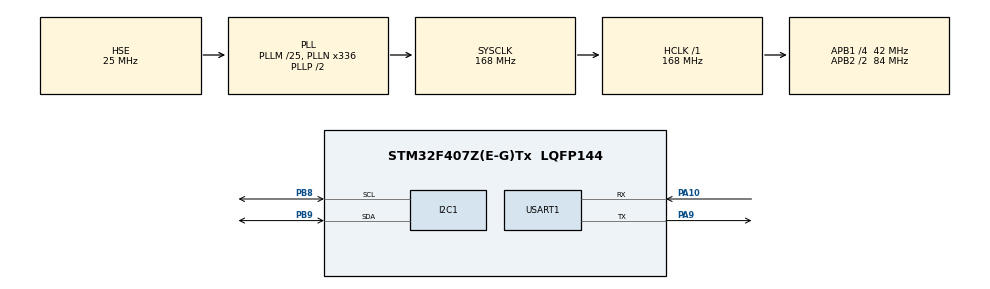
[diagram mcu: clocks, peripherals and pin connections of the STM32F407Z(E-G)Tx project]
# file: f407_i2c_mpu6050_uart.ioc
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Mcu.Family=STM32F4
Mcu.Name=STM32F407Z(E-G)Tx
Mcu.Package=LQFP144
I2C1.VirtualMode=I2C
NVIC.PriorityGroup=NVIC_PRIORITYGROUP_4
NVIC.USART1_IRQn=true\:0\:0\:false\:false\:true\:true\:true\:true
PB8.Mode=I2C
PB8.Signal=I2C1_SCL
PB9.Mode=I2C
PB9.Signal=I2C1_SDA
PA10.Mode=Asynchronous
PA10.Signal=USART1_RX
PA13.Mode=Serial_Wire
PA13.Signal=SYS_JTMS-SWDIO
PA14.Mode=Serial_Wire
PA14.Signal=SYS_JTCK-SWCLK
PA9.Mode=Asynchronous
PA9.Signal=USART1_TX
PH0-OSC_IN.Mode=HSE-External-Oscillator
PH0-OSC_IN.Signal=RCC_OSC_IN
PH1-OSC_OUT.Mode=HSE-External-Oscillator
PH1-OSC_OUT.Signal=RCC_OSC_OUT
ProjectManager.HeapSize=0x200
ProjectManager.StackSize=0x400
ProjectManager.TargetToolchain=CMake
RCC.48MHZClocksFreq_Value=84000000
RCC.AHBFreq_Value=168000000
RCC.APB1CLKDivider=RCC_HCLK_DIV4
RCC.APB1Freq_Value=42000000
RCC.APB1TimFreq_Value=84000000
RCC.APB2CLKDivider=RCC_HCLK_DIV2
RCC.APB2Freq_Value=84000000
RCC.APB2TimFreq_Value=168000000
RCC.CortexFreq_Value=168000000
RCC.HCLKFreq_Value=168000000
RCC.HSE_VALUE=25000000
RCC.HSI_VALUE=16000000
RCC.LSE_VALUE=32768
RCC.PLLM=25
RCC.PLLN=336
RCC.PLLSourceVirtual=RCC_PLLSOURCE_HSE
RCC.SYSCLKFreq_VALUE=168000000
RCC.SYSCLKSource=RCC_SYSCLKSOURCE_PLLCLK
RCC.VCOOutputFreq_Value=336000000
USART1.VirtualMode=VM_ASYNC
board=custom

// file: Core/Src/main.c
/* USER CODE BEGIN Header */
/**
  ******************************************************************************
  * @file           : main.c
  * @brief          : I2C1 MPU6050 acquisition and USART1 display
  ******************************************************************************
  */
/* USER CODE END Header */
#include "main.h"

/* USER CODE BEGIN Includes */
#include <math.h>
#include <stdio.h>
#include <string.h>
/* USER CODE END Includes */

/* USER CODE BEGIN PTD */
typedef struct
{
  int16_t ax_raw;
  int16_t ay_raw;
  int16_t az_raw;
  int16_t temp_raw;
  int16_t gx_raw;
  int16_t gy_raw;
  int16_t gz_raw;
} MPU6050_RawData;
/* USER CODE END PTD */

/* USER CODE BEGIN PD */
#define MPU6050_ADDR_LOW       (0x68U << 1)
#define MPU6050_ADDR_HIGH      (0x69U << 1)

#define MPU6050_REG_SMPLRT_DIV 0x19U
#define MPU6050_REG_CONFIG     0x1AU
#define MPU6050_REG_GYRO_CFG   0x1BU
#define MPU6050_REG_ACCEL_CFG  0x1CU
#define MPU6050_REG_ACCEL_XOUT 0x3BU
#define MPU6050_REG_PWR_MGMT_1 0x6BU
#define MPU6050_REG_WHO_AM_I   0x75U

#define MPU6050_WHO_AM_I_VALUE 0x68U
#define RAD_TO_DEG              57.2957795f
/* USER CODE END PD */

I2C_HandleTypeDef hi2c1;
UART_HandleTypeDef huart1;

/* USER CODE BEGIN PV */
static uint16_t mpu6050_address = MPU6050_ADDR_LOW;
static int32_t gyro_x_bias = 0;
static int32_t gyro_y_bias = 0;
static int32_t gyro_z_bias = 0;
static float roll_deg = 0.0f;
static float pitch_deg = 0.0f;
static float yaw_deg = 0.0f;
static uint8_t angle_initialized = 0U;
/* USER CODE END PV */

void SystemClock_Config(void);
static void MX_GPIO_Init(void);
static void MX_I2C1_Init(void);
static void MX_USART1_UART_Init(void);
/* USER CODE BEGIN PFP */
static void UART_SendString(const char *text);
static void FormatFixed100(char *text, size_t text_size, int32_t value_x100);
static HAL_StatusTypeDef MPU6050_WriteRegister(uint8_t reg, uint8_t value);
static HAL_StatusTypeDef MPU6050_ReadRegisters(uint8_t reg, uint8_t *data,
                                               uint16_t length);
static HAL_StatusTypeDef MPU6050_Init(void);
static HAL_StatusTypeDef MPU6050_ReadRaw(MPU6050_RawData *sample);
static void MPU6050_CalibrateGyroscope(void);
static void MPU6050_UpdateAngles(const MPU6050_RawData *sample, float dt_s);
static void MPU6050_PrintSample(const MPU6050_RawData *sample);
/* USER CODE END PFP */

/* USER CODE BEGIN 0 */
static void UART_SendString(const char *text)
{
  HAL_UART_Transmit(&huart1, (uint8_t *)text, (uint16_t)strlen(text), 200U);
}

static void FormatFixed100(char *text, size_t text_size, int32_t value_x100)
{
  const char *sign = "";
  uint32_t magnitude;

  if (value_x100 < 0)
  {
    sign = "-";
    magnitude = (uint32_t)(-value_x100);
  }
  else
  {
    magnitude = (uint32_t)value_x100;
  }

  (void)snprintf(text, text_size, "%s%lu.%02lu", sign,
                 (unsigned long)(magnitude / 100U),
                 (unsigned long)(magnitude % 100U));
}

static HAL_StatusTypeDef MPU6050_WriteRegister(uint8_t reg, uint8_t value)
{
  return HAL_I2C_Mem_Write(&hi2c1, mpu6050_address, reg,
                           I2C_MEMADD_SIZE_8BIT, &value, 1U, 100U);
}

static HAL_StatusTypeDef MPU6050_ReadRegisters(uint8_t reg, uint8_t *data,
                                               uint16_t length)
{
  return HAL_I2C_Mem_Read(&hi2c1, mpu6050_address, reg,
                          I2C_MEMADD_SIZE_8BIT, data, length, 100U);
}

static HAL_StatusTypeDef MPU6050_Init(void)
{
  uint8_t who_am_i = 0U;

  if (HAL_I2C_IsDeviceReady(&hi2c1, MPU6050_ADDR_LOW, 3U, 100U) == HAL_OK)
  {
    mpu6050_address = MPU6050_ADDR_LOW;
  }
  else if (HAL_I2C_IsDeviceReady(&hi2c1, MPU6050_ADDR_HIGH, 3U, 100U) == HAL_OK)
  {
    mpu6050_address = MPU6050_ADDR_HIGH;
  }
  else
  {
    return HAL_ERROR;
  }

  if (MPU6050_ReadRegisters(MPU6050_REG_WHO_AM_I, &who_am_i, 1U) != HAL_OK)
  {
    return HAL_ERROR;
  }

  if (who_am_i != MPU6050_WHO_AM_I_VALUE)
  {
    return HAL_ERROR;
  }

  /* Reset, select PLL clock, 100 Hz sample rate and enable the low-pass filter. */
  if (MPU6050_WriteRegister(MPU6050_REG_PWR_MGMT_1, 0x80U) != HAL_OK)
  {
    return HAL_ERROR;
  }
  HAL_Delay(100U);

  if ((MPU6050_WriteRegister(MPU6050_REG_PWR_MGMT_1, 0x01U) != HAL_OK) ||
      (MPU6050_WriteRegister(MPU6050_REG_SMPLRT_DIV, 9U) != HAL_OK) ||
      (MPU6050_WriteRegister(MPU6050_REG_CONFIG, 0x03U) != HAL_OK) ||
      (MPU6050_WriteRegister(MPU6050_REG_GYRO_CFG, 0x00U) != HAL_OK) ||
      (MPU6050_WriteRegister(MPU6050_REG_ACCEL_CFG, 0x00U) != HAL_OK))
  {
    return HAL_ERROR;
  }

  HAL_Delay(50U);
  return HAL_OK;
}

static HAL_StatusTypeDef MPU6050_ReadRaw(MPU6050_RawData *sample)
{
  uint8_t data[14];

  if (MPU6050_ReadRegisters(MPU6050_REG_ACCEL_XOUT, data, sizeof(data)) != HAL_OK)
  {
    return HAL_ERROR;
  }

  sample->ax_raw = (int16_t)((uint16_t)data[0] << 8U | data[1]);
  sample->ay_raw = (int16_t)((uint16_t)data[2] << 8U | data[3]);
  sample->az_raw = (int16_t)((uint16_t)data[4] << 8U | data[5]);
  sample->temp_raw = (int16_t)((uint16_t)data[6] << 8U | data[7]);
  sample->gx_raw = (int16_t)((uint16_t)data[8] << 8U | data[9]);
  sample->gy_raw = (int16_t)((uint16_t)data[10] << 8U | data[11]);
  sample->gz_raw = (int16_t)((uint16_t)data[12] << 8U | data[13]);

  return HAL_OK;
}

static void MPU6050_CalibrateGyroscope(void)
{
  MPU6050_RawData sample;
  int64_t sum_x = 0;
  int64_t sum_y = 0;
  int64_t sum_z = 0;
  uint32_t valid_samples = 0U;

  UART_SendString("Keep the board still: calibrating gyro...\r\n");

  for (uint32_t i = 0U; i < 300U; i++)
  {
    if (MPU6050_ReadRaw(&sample) == HAL_OK)
    {
      sum_x += sample.gx_raw;
      sum_y += sample.gy_raw;
      sum_z += sample.gz_raw;
      valid_samples++;
    }
    HAL_Delay(3U);
  }

  if (valid_samples > 0U)
  {
    gyro_x_bias = (int32_t)(sum_x / (int64_t)valid_samples);
    gyro_y_bias = (int32_t)(sum_y / (int64_t)valid_samples);
    gyro_z_bias = (int32_t)(sum_z / (int64_t)valid_samples);
  }

  UART_SendString("Calibration complete. Move or tilt the board.\r\n\r\n");
}

static void MPU6050_UpdateAngles(const MPU6050_RawData *sample, float dt_s)
{
  const float ax_g = (float)sample->ax_raw / 16384.0f;
  const float ay_g = (float)sample->ay_raw / 16384.0f;
  const float az_g = (float)sample->az_raw / 16384.0f;
  const float gx_dps = (float)(sample->gx_raw - gyro_x_bias) / 131.0f;
  const float gy_dps = (float)(sample->gy_raw - gyro_y_bias) / 131.0f;
  const float gz_dps = (float)(sample->gz_raw - gyro_z_bias) / 131.0f;
  const float roll_from_acc = atan2f(ay_g, az_g) * RAD_TO_DEG;
  const float pitch_from_acc = atan2f(-ax_g,
                                     sqrtf(ay_g * ay_g + az_g * az_g)) *
                               RAD_TO_DEG;

  if (angle_initialized == 0U)
  {
    roll_deg = roll_from_acc;
    pitch_deg = pitch_from_acc;
    yaw_deg = 0.0f;
    angle_initialized = 1U;
    return;
  }

  /* Complementary filter: gyro is fast, accelerometer corrects long-term drift. */
  roll_deg = 0.98f * (roll_deg + gx_dps * dt_s) + 0.02f * roll_from_acc;
  pitch_deg = 0.98f * (pitch_deg + gy_dps * dt_s) + 0.02f * pitch_from_acc;
  yaw_deg += gz_dps * dt_s;
}

static void MPU6050_PrintSample(const MPU6050_RawData *sample)
{
  char line[320];
  char gx_text[16];
  char gy_text[16];
  char gz_text[16];
  char roll_text[16];
  char pitch_text[16];
  char yaw_text[16];
  char temp_text[16];
  const int32_t ax_mg = ((int32_t)sample->ax_raw * 1000) / 16384;
  const int32_t ay_mg = ((int32_t)sample->ay_raw * 1000) / 16384;
  const int32_t az_mg = ((int32_t)sample->az_raw * 1000) / 16384;
  const int32_t gx_x100 = ((int32_t)sample->gx_raw - gyro_x_bias) * 100 / 131;
  const int32_t gy_x100 = ((int32_t)sample->gy_raw - gyro_y_bias) * 100 / 131;
  const int32_t gz_x100 = ((int32_t)sample->gz_raw - gyro_z_bias) * 100 / 131;
  const int32_t temp_x100 = ((int32_t)sample->temp_raw * 100) / 340 + 3653;

  FormatFixed100(gx_text, sizeof(gx_text), gx_x100);
  FormatFixed100(gy_text, sizeof(gy_text), gy_x100);
  FormatFixed100(gz_text, sizeof(gz_text), gz_x100);
  FormatFixed100(roll_text, sizeof(roll_text), (int32_t)(roll_deg * 100.0f));
  FormatFixed100(pitch_text, sizeof(pitch_text), (int32_t)(pitch_deg * 100.0f));
  FormatFixed100(yaw_text, sizeof(yaw_text), (int32_t)(yaw_deg * 100.0f));
  FormatFixed100(temp_text, sizeof(temp_text), temp_x100);

  (void)snprintf(line, sizeof(line),
                 "\r\n"
                 "ACC[mg] X=%ld Y=%ld Z=%ld\r\n"
                 "GYRO[dps] X=%s Y=%s Z=%s\r\n"
                 "ANGLE[deg] Roll=%s Pitch=%s Yaw=%s(relative/drifts)\r\n"
                 "TEMP=%s C\r\n"
                 "----------------------------------------\r\n\r\n",
                 (long)ax_mg, (long)ay_mg, (long)az_mg,
                 gx_text, gy_text, gz_text,
                 roll_text, pitch_text, yaw_text, temp_text);
  UART_SendString(line);
}
/* USER CODE END 0 */

int main(void)
{
  /* USER CODE BEGIN 1 */
  MPU6050_RawData sample;
  uint32_t last_sample_tick;
  uint32_t last_print_tick;
  uint8_t sensor_ready = 0U;
  /* USER CODE END 1 */

  /* MCU Configuration--------------------------------------------------------*/
  HAL_Init();

  SystemClock_Config();

  /* Initialize all configured peripherals */
  MX_GPIO_Init();
  MX_I2C1_Init();
  MX_USART1_UART_Init();

  /* USER CODE BEGIN 2 */
  UART_SendString("\r\nSTM32F407 I2C1 + onboard MPU6050 test.\r\n");
  UART_SendString("I2C1: PB8=SCL, PB9=SDA, UART1: 115200 8-N-1.\r\n");

  if (MPU6050_Init() == HAL_OK)
  {
    char info[80];
    (void)snprintf(info, sizeof(info),
                   "MPU6050 found: address=0x%02X, WHO_AM_I=0x68.\r\n",
                   (unsigned int)(mpu6050_address >> 1U));
    UART_SendString(info);
    MPU6050_CalibrateGyroscope();
    sensor_ready = 1U;
  }
  else
  {
    UART_SendString("ERROR: MPU6050 not found at 0x68 or 0x69.\r\n");
    UART_SendString("Check that the complete Batianhu V2 baseboard is connected.\r\n");
  }

  last_sample_tick = HAL_GetTick();
  last_print_tick = last_sample_tick;
  /* USER CODE END 2 */

  /* Infinite loop */
  /* USER CODE BEGIN WHILE */
  while (1)
  {
    const uint32_t now = HAL_GetTick();

    if ((sensor_ready != 0U) && ((now - last_sample_tick) >= 10U))
    {
      const float dt_s = (float)(now - last_sample_tick) / 1000.0f;
      last_sample_tick = now;

      if (MPU6050_ReadRaw(&sample) == HAL_OK)
      {
        MPU6050_UpdateAngles(&sample, dt_s);

        /*
         * 姿态滤波仍然每10 ms更新，串口每2秒显示一次，
         * 兼顾角度计算精度和阅读体验。
         */
        if ((now - last_print_tick) >= 2000U)
        {
          last_print_tick = now;
          MPU6050_PrintSample(&sample);
        }
      }
      else
      {
        UART_SendString("I2C read failed; retrying sensor detection.\r\n");
        sensor_ready = 0U;
      }
    }

    if ((sensor_ready == 0U) && ((now - last_print_tick) >= 1000U))
    {
      last_print_tick = now;
      if (MPU6050_Init() == HAL_OK)
      {
        UART_SendString("MPU6050 connected again.\r\n");
        angle_initialized = 0U;
        MPU6050_CalibrateGyroscope();
        sensor_ready = 1U;
        last_sample_tick = HAL_GetTick();
      }
      else
      {
        UART_SendString("Waiting for MPU6050 at I2C address 0x68/0x69...\r\n");
      }
    }
    /* USER CODE END WHILE */
  }
}

void SystemClock_Config(void)
{
  RCC_OscInitTypeDef RCC_OscInitStruct = {0};
  RCC_ClkInitTypeDef RCC_ClkInitStruct = {0};

  __HAL_RCC_PWR_CLK_ENABLE();
  __HAL_PWR_VOLTAGESCALING_CONFIG(PWR_REGULATOR_VOLTAGE_SCALE1);

  RCC_OscInitStruct.OscillatorType = RCC_OSCILLATORTYPE_HSE;
  RCC_OscInitStruct.HSEState = RCC_HSE_ON;
  RCC_OscInitStruct.PLL.PLLState = RCC_PLL_ON;
  RCC_OscInitStruct.PLL.PLLSource = RCC_PLLSOURCE_HSE;
  RCC_OscInitStruct.PLL.PLLM = 25;
  RCC_OscInitStruct.PLL.PLLN = 336;
  RCC_OscInitStruct.PLL.PLLP = RCC_PLLP_DIV2;
  RCC_OscInitStruct.PLL.PLLQ = 4;
  if (HAL_RCC_OscConfig(&RCC_OscInitStruct) != HAL_OK)
  {
    Error_Handler();
  }

  RCC_ClkInitStruct.ClockType = RCC_CLOCKTYPE_HCLK | RCC_CLOCKTYPE_SYSCLK |
                               RCC_CLOCKTYPE_PCLK1 | RCC_CLOCKTYPE_PCLK2;
  RCC_ClkInitStruct.SYSCLKSource = RCC_SYSCLKSOURCE_PLLCLK;
  RCC_ClkInitStruct.AHBCLKDivider = RCC_SYSCLK_DIV1;
  RCC_ClkInitStruct.APB1CLKDivider = RCC_HCLK_DIV4;
  RCC_ClkInitStruct.APB2CLKDivider = RCC_HCLK_DIV2;

  if (HAL_RCC_ClockConfig(&RCC_ClkInitStruct, FLASH_LATENCY_5) != HAL_OK)
  {
    Error_Handler();
  }
}

static void MX_I2C1_Init(void)
{
  hi2c1.Instance = I2C1;
  hi2c1.Init.ClockSpeed = 100000;
  hi2c1.Init.DutyCycle = I2C_DUTYCYCLE_2;
  hi2c1.Init.OwnAddress1 = 0;
  hi2c1.Init.AddressingMode = I2C_ADDRESSINGMODE_7BIT;
  hi2c1.Init.DualAddressMode = I2C_DUALADDRESS_DISABLE;
  hi2c1.Init.OwnAddress2 = 0;
  hi2c1.Init.GeneralCallMode = I2C_GENERALCALL_DISABLE;
  hi2c1.Init.NoStretchMode = I2C_NOSTRETCH_DISABLE;
  if (HAL_I2C_Init(&hi2c1) != HAL_OK)
  {
    Error_Handler();
  }
}

static void MX_USART1_UART_Init(void)
{
  huart1.Instance = USART1;
  huart1.Init.BaudRate = 115200;
  huart1.Init.WordLength = UART_WORDLENGTH_8B;
  huart1.Init.StopBits = UART_STOPBITS_1;
  huart1.Init.Parity = UART_PARITY_NONE;
  huart1.Init.Mode = UART_MODE_TX_RX;
  huart1.Init.HwFlowCtl = UART_HWCONTROL_NONE;
  huart1.Init.OverSampling = UART_OVERSAMPLING_16;
  if (HAL_UART_Init(&huart1) != HAL_OK)
  {
    Error_Handler();
  }
}

static void MX_GPIO_Init(void)
{
  __HAL_RCC_GPIOH_CLK_ENABLE();
  __HAL_RCC_GPIOA_CLK_ENABLE();
  __HAL_RCC_GPIOB_CLK_ENABLE();
}

void Error_Handler(void)
{
  __disable_irq();
  while (1)
  {
  }
}
